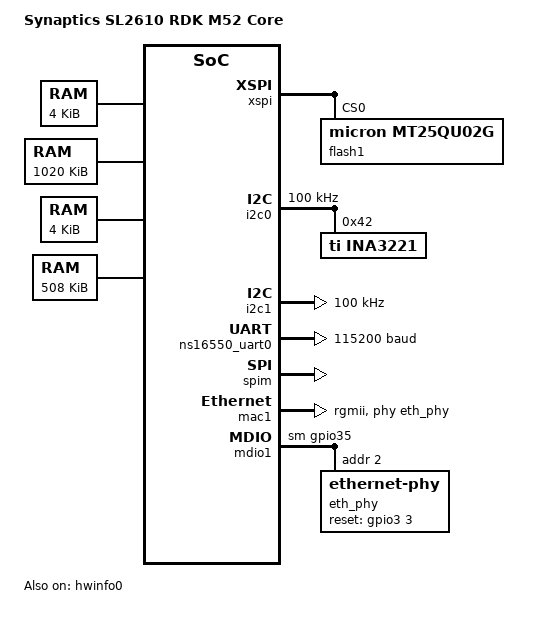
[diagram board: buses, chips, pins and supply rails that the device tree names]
/*
 * Copyright (c) 2026 Synaptics Incorporated
 *
 * SPDX-License-Identifier: Apache-2.0
 */

/dts-v1/;
#include <syna/astra_sl/sl261x/sl261x_m52.dtsi>
#include <syna/astra_sl/sl261x/sl261x_pinctrl.dtsi>
#include <zephyr/dt-bindings/gpio/gpio.h>
#include <zephyr/dt-bindings/memory-attr/memory-attr-arm.h>

/ {
	model = "Synaptics SL2610 RDK M52 Core";
	compatible = "syna,sl261x-rdk";

	chosen {
		zephyr,console = &ns16550_uart0;
		zephyr,shell-uart = &ns16550_uart0;
		zephyr,sram = &dtcm;
		zephyr,flash = &itcm;
		zephyr,code-partition = &itcm;
		zephyr,arch-cpu = &cpu_m52;
		zephyr,flash-controller = &xspi;
	};

	aliases {
		i2c-0 = &i2c0;
	};

	ddr_nc: memory@b0000000 {
		compatible = "zephyr,memory-region";
		reg = <0xb0000000 DT_SIZE_K(4)>;
		zephyr,memory-region = "DDR_NC";
		zephyr,memory-attr = <DT_MEM_ARM_MPU_RAM_NOCACHE>;
	};

	ddr: memory@b0001000 {
		compatible = "zephyr,memory-region";
		reg = <0xb0001000 DT_SIZE_K(1020)>;
		zephyr,memory-region = "DDR";
		zephyr,memory-attr = <DT_MEM_ARM_MPU_RAM>;
	};

	npu_nc: memory@d7600000 { // as alternative to DDR
		compatible = "zephyr,memory-region";
		reg = <0xd7600000 DT_SIZE_K(4)>;
		zephyr,memory-region = "NPU_NC";
		zephyr,memory-attr = <DT_MEM_ARM_MPU_RAM_NOCACHE>;
	};

	npu: memory@d7601000 {
		compatible = "zephyr,memory-region";
		reg = <0xd7601000 DT_SIZE_K(508)>;
		zephyr,memory-region = "NPU";
		zephyr,memory-attr = <DT_MEM_ARM_MPU_RAM>;
	};
};

&xspi {
	status = "okay";
	pinctrl-0 = <&sm_xspi_data0 &sm_xspi_data1 &sm_xspi_data2 &sm_xspi_data3 &sm_xspi_dqs
		     &sm_xspi_clk &sm_xspi_clk_n &sm_xspi_cs0>;
	pinctrl-names = "default";
	use-direct-mode;
	erase-block-size = <4096>;
	write-block-size = <1>;

	flash1: mt25qu02g@0 {
		compatible = "micron,mt25qu02g";
		reg = <0>;
		size = <DT_SIZE_M(256*8)>; /* in bits */
		status = "okay";
	};
};

&sm_xspi_data0 {
	drive-strength = <3>;
};

&sm_xspi_data1 {
	drive-strength = <3>;
};

&sm_xspi_data2 {
	drive-strength = <3>;
};

&sm_xspi_data3 {
	drive-strength = <3>;
};

&sm_xspi_dqs {
	drive-strength = <3>;
};

&sm_xspi_clk {
	drive-strength = <3>;
};

&sm_xspi_clk_n {
	drive-strength = <3>;
};

&sm_xspi_cs0 {
	drive-strength = <3>;
};

&i2c0 {
	status = "okay";
	clock-frequency = <I2C_BITRATE_STANDARD>;
	pinctrl-0 = <&sm_tw0_sda_b &sm_tw0_scl_b>;
	pinctrl-names = "default";

	ina3221@42 {
		compatible = "ti,ina3221";
		reg = <0x42>;
		shunt-resistors = <10000 10000 10000>;
	};
};

&sm_tw0_sda_b {
	bias-pull-up;
	drive-strength = <8>;
};

&sm_tw0_scl_b {
	bias-pull-up;
	drive-strength = <8>;
};

&i2c1 {
	status = "okay";
	clock-frequency = <I2C_BITRATE_STANDARD>;
	pinctrl-0 = <&sm_tw1_sda &sm_tw1_scl>;
	pinctrl-names = "default";
};

&sm_tw1_sda {
	bias-pull-up;
	drive-strength = <8>;
};

&sm_tw1_scl {
	bias-pull-up;
	drive-strength = <8>;
};

&ns16550_uart0 {
	pinctrl-0 = <&sm_urt0_rxd &sm_urt0_txd>;
	pinctrl-names = "default";
	clock-frequency = <25000000>;
	current-speed = <115200>;
	dlf = <0>;
	status = "okay";
};

&gpio0 {
	status = "okay";
};

&gpio1 {
	status = "okay";
};

&gpio2 {
	status = "okay";
};

&gpio3 {
	status = "okay";
};

&spim {
	status = "okay";
	pinctrl-0 = <&sm_spi1_clk &sm_spi1_sdi &sm_spi1_sdo &sm_spi1_ss3n>;
	pinctrl-names = "default";
};

&hwinfo0 {
	status = "okay";
};

&rgmii2_td0 {
	drive-strength = <7>;
};

&rgmii2_td1 {
	drive-strength = <7>;
};

&rgmii2_td2 {
	drive-strength = <7>;
};

&rgmii2_td3 {
	drive-strength = <7>;
};

&rgmii2_rd0 {
	drive-strength = <7>;
};

&rgmii2_rd1 {
	drive-strength = <7>;
};

&rgmii2_rd2 {
	drive-strength = <7>;
};

&rgmii2_rd3 {
	drive-strength = <7>;
};

&rgmii2_rxc {
	drive-strength = <7>;
};

&rgmii2_txc {
	drive-strength = <7>;
};

&rgmii2_txctl {
	drive-strength = <7>;
};

&rgmii2_rxctl {
	drive-strength = <7>;
};

&rgmii_mdc_b {
	drive-strength = <7>;
};

&rgmii_mdio_b {
	drive-strength = <7>;
};

&mac1 {
	status = "okay";
	pinctrl-0 = <&rgmii2_td0 &rgmii2_td1 &rgmii2_td2 &rgmii2_td3
		     &rgmii2_rd0 &rgmii2_rd1 &rgmii2_rd2 &rgmii2_rd3
		     &rgmii2_rxc &rgmii2_txc &rgmii2_txctl &rgmii2_rxctl>;
	pinctrl-names = "default";
	phy-connection-type = "rgmii";
	phy-handle = <&eth_phy>;
};

&mdio1 {
	status = "okay";
	pinctrl-0 = <&rgmii_mdc_b &rgmii_mdio_b &sm_gpio35>;
	pinctrl-names = "default";
	csr-clock-index = <2>;

	eth_phy: ethernet-phy@2 {
		compatible = "ethernet-phy";
		reg = <0x2>;
		reset-gpios = <&gpio3 3 GPIO_ACTIVE_HIGH>;
		reset-assert-duration-us = <20000>;
		reset-deassertion-timeout-ms = <100>;
		default-speeds = "1000BASE Full-Duplex";
	};
};
